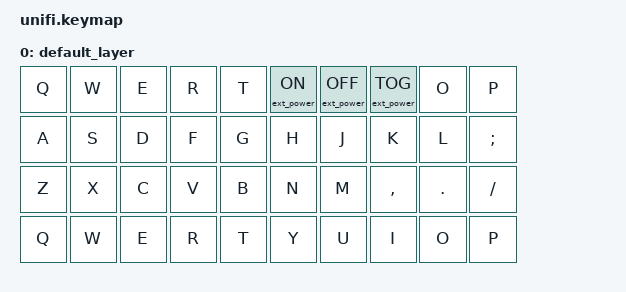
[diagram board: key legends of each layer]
/*
 * Copyright (c) 2020 The ZMK Contributors
 *
 * SPDX-License-Identifier: MIT
 */

#include <behaviors.dtsi>
#include <dt-bindings/zmk/keys.h>
#include <dt-bindings/zmk/bt.h>
#include <dt-bindings/zmk/ext_power.h>

/ {
        keymap {
                compatible = "zmk,keymap";

                default_layer {
// -----------------------------------------------------------------------------------------
// |  TAB |  Q  |  W  |  E  |  R  |  T  |   |  Y  |  U   |  I  |  O  |  P  | BKSP |
// | CTRL |  A  |  S  |  D  |  F  |  G  |   |  H  |  J   |  K  |  L  |  ;  |  '   |
// | SHFT |  Z  |  X  |  C  |  V  |  B  |   |  N  |  M   |  ,  |  .  |  /  | ESC  |
//                    | GUI | LWR | SPC |   | ENT | RSE  | ALT |
                        bindings = <
   &kp Q        &kp W        &kp E        &kp R        &kp T                &ext_power EP_ON        &ext_power EP_OFF        &ext_power EP_TOG        &kp O        &kp P
   &kp A        &kp S        &kp D        &kp F        &kp G                &kp H        &kp J        &kp K        &kp L        &kp SEMI
   &kp Z        &kp X        &kp C        &kp V        &kp B                &kp N        &kp M        &kp COMMA    &kp DOT      &kp FSLH
   &kp Q        &kp W        &kp E        &kp R        &kp T                &kp Y        &kp U        &kp I        &kp O        &kp P
   
                        >;
                };
        };
};
